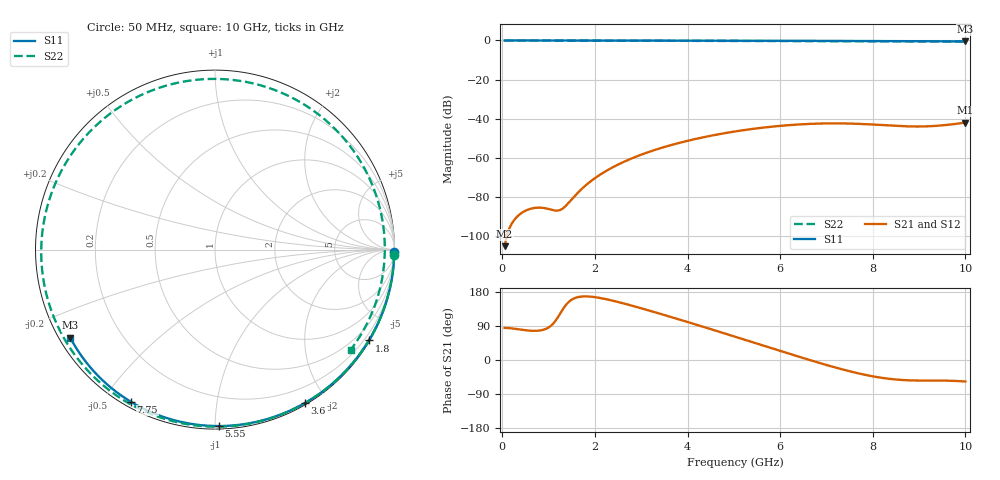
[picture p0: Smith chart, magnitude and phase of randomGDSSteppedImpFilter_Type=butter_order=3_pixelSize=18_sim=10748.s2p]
! freq	dB(S11)	phase(S11)	dB(S12)	phase(S12)
!  dB(S21)	phase(S21)	dB(S22)	phase(S22)
!S-par simulation data
#  GHz  S  DB  R 50
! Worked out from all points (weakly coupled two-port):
!   200 points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, 50 MHz to 10 GHz, reference 50 ohm
!   highest |S21| = -42.05 dB at 10 GHz (marker M1); lowest = -105.3 dB at 50 MHz (marker M2)
!   lowest |S11| = -0.5 dB at 10 GHz (marker M3), VSWR 34.74, Z = 1.55 - j14 ohm
!   |S11| at or under -10 dB: nowhere
!   |S22| runs from -0.5 to 0.0 dB; largest |S21 - S12| = 0
!   S11 on the Smith chart (normalised r, x): 50 MHz: open; 1.8 GHz: 0.03, -3.66; 3.6 GHz: 0.02, -1.75; 5.55 GHz: 0.02, -1.02; 7.75 GHz: 0.02, -0.59; 10 GHz: 0.03, -0.28
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0.05  -0.00 -0.9  -105.30 84.7  -105.30 84.7  -0.01 -1.7
0.75  -0.02 -12.9  -85.61 77.2  -85.61 77.2  -0.03 -26.0
1.55  -0.03 -26.4  -79.98 162.5  -79.98 162.5  -0.07 -53.4
1.75  -0.04 -29.7  -75.23 167.7  -75.23 167.7  -0.08 -60.2
1.8  -0.04 -30.6  -74.19 167.9  -74.19 167.9  -0.08 -61.9
2.1  -0.05 -35.5  -68.88 163.9  -68.88 163.9  -0.09 -72.0
2.45  -0.05 -41.3  -64.11 154.6  -64.11 154.6  -0.11 -83.8
2.9  -0.06 -48.5  -59.37 140.0  -59.37 140.0  -0.13 -98.9
3.4  -0.08 -56.4  -55.25 122.3  -55.25 122.3  -0.15 -115.8
3.6  -0.08 -59.6  -53.85 115.0  -53.85 115.0  -0.17 -122.6
4.4  -0.10 -71.8  -49.26 85.3  -49.26 85.3  -0.22 -150.7
5.05  -0.13 -81.5  -46.49 60.6  -46.49 60.6  -0.27 -174.9
5.55  -0.15 -88.7  -44.85 41.4  -44.85 41.4  -0.31 165.1
6.1  -0.17 -96.5  -43.51 20.3  -43.51 20.3  -0.36 141.6
6.7  -0.20 -104.8  -42.65 -2.3  -42.65 -2.3  -0.41 114.0
7.25  -0.24 -112.3  -42.44 -21.7  -42.44 -21.7  -0.44 87.2
7.75  -0.28 -119.0  -42.74 -36.9  -42.74 -36.9  -0.45 62.3
8.35  -0.33 -126.9  -43.52 -49.6  -43.52 -49.6  -0.46 32.9
8.7  -0.36 -131.5  -43.93 -53.2  -43.93 -53.2  -0.47 16.6
9.1  -0.40 -136.8  -44.01 -54.3  -44.01 -54.3  -0.48 -1.1
9.5  -0.44 -142.1  -43.46 -54.3  -43.46 -54.3  -0.50 -17.6
10  -0.50 -148.7  -42.05 -56.8  -42.05 -56.8  -0.54 -36.5
